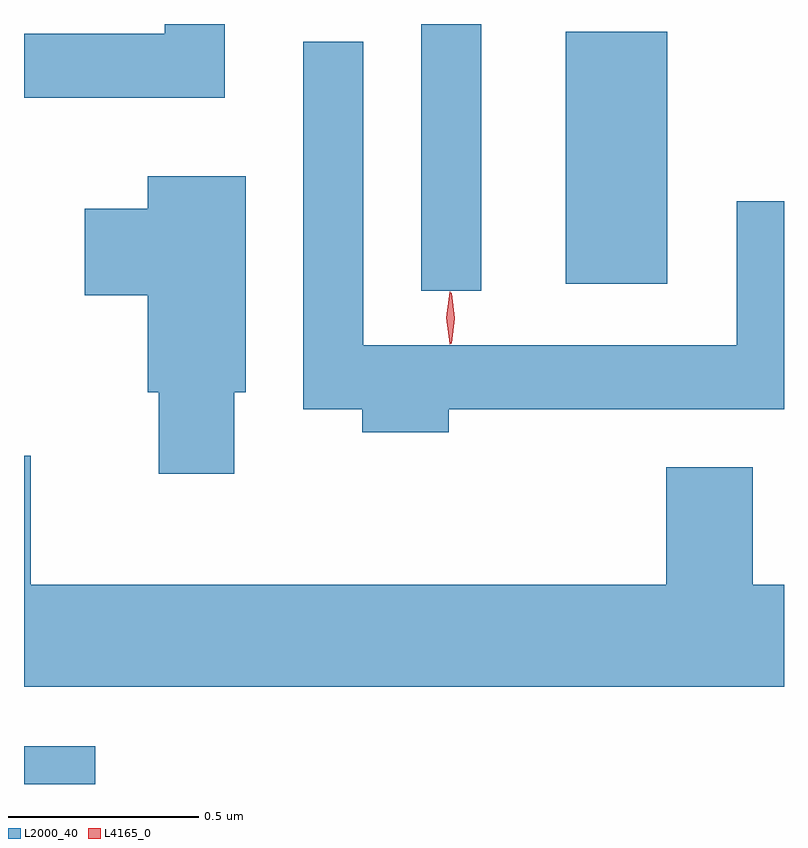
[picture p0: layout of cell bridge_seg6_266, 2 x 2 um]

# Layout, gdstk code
import gdstk
lib = gdstk.Library(unit=1e-6, precision=1e-09)
def R(c, l, rs):  # rectangles x0, y0, x1, y1
    for r in rs: c.add(gdstk.rectangle(r[:2], r[2:], *l))
def P(c, l, *ps):  # polygons
    for p in ps: c.add(gdstk.Polygon(p, *l))
L2000_40 = (2000, 40)
L4165_0 = (4165, 0)

bridge_seg6_266 = lib.new_cell('bridge_seg6_266')
R(bridge_seg6_266, L2000_40, [(1228.741,1596.4,1228.929,1596.499), (1229.786,1597.698,1229.944,1598.4), (1230.166,1597.716,1230.434,1598.379)])
P(bridge_seg6_266, L2000_40, [(1229.269,1598.4),(1229.111,1598.4),(1229.111,1598.374),(1228.741,1598.374),(1228.741,1598.206),(1229.269,1598.206)],
  [(1229.859,1597.386),(1230.741,1597.386),(1230.741,1597.933),(1230.616,1597.933),(1230.616,1597.554),(1229.634,1597.554),(1229.634,1598.353),(1229.476,1598.353),(1229.476,1597.386),(1229.631,1597.386),(1229.631,1597.326),(1229.859,1597.326)],
  [(1229.294,1597.431),(1229.324,1597.431),(1229.324,1597.999),(1229.066,1597.999),(1229.066,1597.914),(1228.901,1597.914),(1228.901,1597.686),(1229.066,1597.686),(1229.066,1597.431),(1229.096,1597.431),(1229.096,1597.216),(1229.294,1597.216)],
  [(1230.741,1596.924),(1230.659,1596.924),(1230.659,1597.234),(1230.431,1597.234),(1230.431,1596.924),(1228.759,1596.924),(1228.759,1597.264),(1228.741,1597.264),(1228.741,1596.656),(1230.741,1596.656)])
P(bridge_seg6_266, L4165_0, [(1229.862,1597.557),(1229.862,1597.558),(1229.852,1597.627),(1229.862,1597.696),(1229.862,1597.696),(1229.863,1597.696),(1229.872,1597.627),(1229.863,1597.558)],
  [(1229.865,1597.559),(1229.864,1597.56),(1229.855,1597.626),(1229.864,1597.692),(1229.865,1597.693),(1229.866,1597.692),(1229.875,1597.626),(1229.866,1597.56)])

lib.write_gds('bridge_seg6_266.gds')
